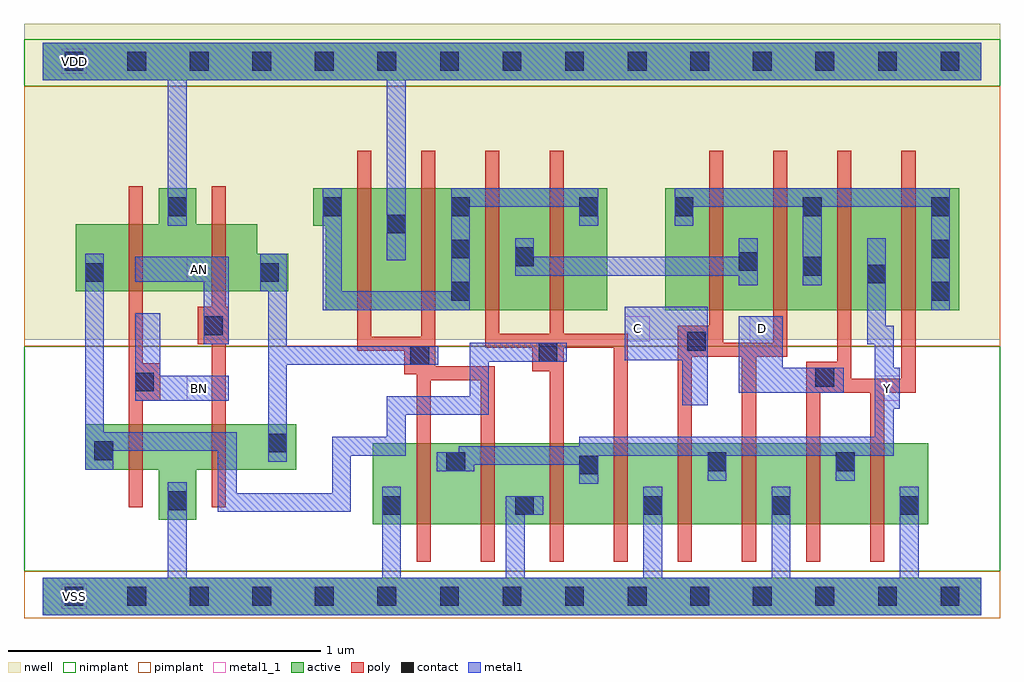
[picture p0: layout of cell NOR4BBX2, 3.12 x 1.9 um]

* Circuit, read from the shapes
.subckt NOR4BBX2 AN BN C D VDD VSS Y
M1 VSS BN n1 VSS nfet w=0.145u l=0.045u
M2 n2 AN VSS VSS nfet w=0.145u l=0.045u
M3 Y n2 VSS VSS nfet w=0.26u l=0.045u m=2
M4 Y n1 VSS VSS nfet w=0.26u l=0.045u m=2
M5 Y C VSS VSS nfet w=0.26u l=0.045u m=2
M6 Y D VSS VSS nfet w=0.26u l=0.045u m=2
M7 VDD BN n1 VDD pfet w=0.215u l=0.045u
M8 n2 AN VDD VDD pfet w=0.215u l=0.045u
M9 VDD n2 n3 VDD pfet w=0.39u l=0.045u m=2
M10 n4 n1 n3 VDD pfet w=0.39u l=0.045u m=2
M11 n4 C n5 VDD pfet w=0.39u l=0.045u m=2
M12 Y D n5 VDD pfet w=0.39u l=0.045u m=2
.ends

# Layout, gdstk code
import gdstk
lib = gdstk.Library(unit=1e-6, precision=5e-10)
def R(c, l, rs):  # rectangles x0, y0, x1, y1
    for r in rs: c.add(gdstk.rectangle(r[:2], r[2:], *l))
def A(c, l, x, y, w, h, nx, ny, dx, dy):  # array of equal rectangles
    R(c, l, [(x+i*dx, y+j*dy, x+i*dx+w, y+j*dy+h) for i in range(nx) for j in range(ny)])
def P(c, l, *ps):  # polygons
    for p in ps: c.add(gdstk.Polygon(p, *l))
active = (1, 0)
nwell = (2, 0)
poly = (3, 0)
nimplant = (4, 0)
pimplant = (5, 0)
contact = (6, 0)
metal1 = (7, 0)
metal1_1 = (7, 1)

nor4bbx2 = lib.new_cell('NOR4BBX2')
R(nor4bbx2, active, [(0,-0.06,3,0.06), (1.055,0.23,2.83,0.49), (1.99,0.915,2.93,1.305), (0,1.65,3,1.77)])
P(nor4bbx2, active, [(0.865,1.305),(1.805,1.305),(1.805,0.915),(0.905,0.915),(0.905,1.185),(0.865,1.185)],
  [(0.37,1.305),(0.49,1.305),(0.49,1.19),(0.685,1.19),(0.685,1.095),(0.785,1.095),(0.785,0.975),(0.105,0.975),(0.105,1.19),(0.37,1.19)],
  [(0.135,0.55),(0.81,0.55),(0.81,0.405),(0.49,0.405),(0.49,0.245),(0.37,0.245),(0.37,0.405),(0.135,0.405)])
R(nor4bbx2, nwell, [(-0.06,0.82,3.06,1.83)])
P(nor4bbx2, poly, [(1.005,1.425),(1.05,1.425),(1.05,0.83),(1.21,0.83),(1.21,1.425),(1.255,1.425),(1.255,0.735),(1.445,0.735),(1.445,0.11),(1.4,0.11),(1.4,0.69),(1.24,0.69),(1.24,0.11),(1.195,0.11),(1.195,0.71),(1.155,0.71),(1.155,0.785),(1.005,0.785)],
  [(1.415,1.425),(1.46,1.425),(1.46,0.84),(1.62,0.84),(1.62,1.425),(1.665,1.425),(1.665,0.84),(1.87,0.84),(1.87,0.11),(1.825,0.11),(1.825,0.795),(1.665,0.795),(1.665,0.11),(1.62,0.11),(1.62,0.72),(1.565,0.72),(1.565,0.795),(1.415,0.795)],
  [(0.275,1.31),(0.32,1.31),(0.32,0.745),(0.375,0.745),(0.375,0.625),(0.32,0.625),(0.32,0.285),(0.275,0.285)],
  [(0.54,1.31),(0.585,1.31),(0.585,0.925),(0.595,0.925),(0.595,0.805),(0.585,0.805),(0.585,0.285),(0.54,0.285),(0.54,0.805),(0.495,0.805),(0.495,0.925),(0.54,0.925)],
  [(2.13,1.425),(2.175,1.425),(2.175,0.81),(2.335,0.81),(2.335,1.425),(2.38,1.425),(2.38,0.765),(2.28,0.765),(2.28,0.11),(2.235,0.11),(2.235,0.765),(2.075,0.765),(2.075,0.11),(2.03,0.11),(2.03,0.865),(2.13,0.865)],
  [(2.54,1.425),(2.585,1.425),(2.585,0.695),(2.745,0.695),(2.745,1.425),(2.79,1.425),(2.79,0.65),(2.69,0.65),(2.69,0.11),(2.645,0.11),(2.645,0.65),(2.485,0.65),(2.485,0.11),(2.44,0.11),(2.44,0.75),(2.54,0.75)])
R(nor4bbx2, nimplant, [(-0.06,0.08,3.06,0.8), (-0.06,1.63,3.06,1.78)])
R(nor4bbx2, pimplant, [(-0.06,-0.07,3.06,0.08), (-0.06,0.8,3.06,1.63)])
A(nor4bbx2, contact, 0.07, -0.03, 0.06, 0.06, 15, 2, 0.2, 1.71)
A(nor4bbx2, contact, 1.51, 0.26, 0.06, 0.06, 4, 1, 0.41, 0)
A(nor4bbx2, contact, 0.895, 1.215, 0.06, 0.06, 3, 1, 0.41, 0)
A(nor4bbx2, contact, 2.02, 1.215, 0.06, 0.06, 3, 1, 0.41, 0)
R(nor4bbx2, contact, [(1.085,0.26,1.145,0.32), (0.4,0.275,0.46,0.335), (1.715,0.39,1.775,0.45), (1.29,0.4,1.35,0.46), (2.125,0.4,2.185,0.46), (2.535,0.4,2.595,0.46), (0.165,0.435,0.225,0.495), (0.72,0.46,0.78,0.52), (0.295,0.655,0.355,0.715), (2.47,0.67,2.53,0.73), (1.175,0.74,1.235,0.8), (1.585,0.75,1.645,0.81), (2.06,0.785,2.12,0.845), (0.515,0.835,0.575,0.895), (1.305,0.945,1.365,1.005), (2.84,0.945,2.9,1.005), (2.635,1,2.695,1.06), (0.135,1.005,0.195,1.065), (0.695,1.005,0.755,1.065), (2.43,1.025,2.49,1.085), (2.225,1.04,2.285,1.1), (1.51,1.055,1.57,1.115), (1.305,1.08,1.365,1.14), (2.84,1.08,2.9,1.14), (1.1,1.16,1.16,1.22), (0.4,1.215,0.46,1.275)])
P(nor4bbx2, metal1, [(0,1.77),(3,1.77),(3,1.65),(1.16,1.65),(1.16,1.075),(1.1,1.075),(1.1,1.65),(0.46,1.65),(0.46,1.185),(0.4,1.185),(0.4,1.65),(0,1.65)],
  [(0.895,1.305),(0.955,1.305),(0.955,0.975),(1.305,0.975),(1.305,1.305),(1.775,1.305),(1.775,1.185),(1.715,1.185),(1.715,1.245),(1.365,1.245),(1.365,0.915),(0.895,0.915)],
  [(0.135,1.095),(0.195,1.095),(0.195,0.525),(0.62,0.525),(0.62,0.33),(0.925,0.33),(0.925,0.51),(1.1,0.51),(1.1,0.64),(1.365,0.64),(1.365,0.81),(1.675,0.81),(1.675,0.75),(1.425,0.75),(1.425,0.58),(1.16,0.58),(1.16,0.45),(0.985,0.45),(0.985,0.27),(0.56,0.27),(0.56,0.465),(0.225,0.465),(0.225,0.405),(0.135,0.405)],
  [(0.695,1.095),(0.78,1.095),(0.78,0.8),(1.265,0.8),(1.265,0.74),(0.78,0.74),(0.78,0.43),(0.72,0.43),(0.72,0.975),(0.695,0.975)],
  [(0.295,1.085),(0.595,1.085),(0.595,0.805),(0.515,0.805),(0.515,1.005),(0.295,1.005)],
  [(0.295,0.905),(0.375,0.905),(0.375,0.705),(0.595,0.705),(0.595,0.625),(0.295,0.625)],
  [(1.51,1.145),(1.57,1.145),(1.57,1.085),(2.225,1.085),(2.225,1.145),(2.285,1.145),(2.285,0.995),(2.225,0.995),(2.225,1.025),(1.51,1.025)],
  [(2.02,1.305),(2.9,1.305),(2.9,0.915),(2.84,0.915),(2.84,1.245),(2.49,1.245),(2.49,0.995),(2.43,0.995),(2.43,1.245),(2.08,1.245),(2.08,1.185),(2.02,1.185)],
  [(2.635,1.145),(2.695,1.145),(2.695,0.865),(2.72,0.865),(2.72,0.73),(2.74,0.73),(2.74,0.6),(2.72,0.6),(2.72,0.45),(2.595,0.45),(2.595,0.37),(2.535,0.37),(2.535,0.45),(2.185,0.45),(2.185,0.37),(2.125,0.37),(2.125,0.45),(1.775,0.45),(1.775,0.36),(1.715,0.36),(1.715,0.42),(1.38,0.42),(1.38,0.4),(1.26,0.4),(1.26,0.46),(1.33,0.46),(1.33,0.48),(1.715,0.48),(1.715,0.51),(2.66,0.51),(2.66,0.805),(2.635,0.805)],
  [(1.86,0.925),(2.125,0.925),(2.125,0.61),(2.045,0.61),(2.045,0.755),(1.86,0.755)],
  [(2.225,0.895),(2.365,0.895),(2.365,0.73),(2.56,0.73),(2.56,0.65),(2.225,0.65)],
  [(0.4,0.365),(0.46,0.365),(0.46,0.06),(1.085,0.06),(1.085,0.35),(1.145,0.35),(1.145,0.06),(1.48,0.06),(1.48,0.32),(1.6,0.32),(1.6,0.26),(1.54,0.26),(1.54,0.06),(1.92,0.06),(1.92,0.35),(1.98,0.35),(1.98,0.06),(2.33,0.06),(2.33,0.35),(2.39,0.35),(2.39,0.06),(2.74,0.06),(2.74,0.35),(2.8,0.35),(2.8,0.06),(3,0.06),(3,-0.06),(0,-0.06),(0,0.06),(0.4,0.06)])
R(nor4bbx2, metal1_1, [(0.06,-0.04,0.14,0.04), (0.46,0.625,0.54,0.705), (2.66,0.625,2.74,0.705), (1.86,0.815,1.94,0.895), (2.26,0.815,2.34,0.895), (0.46,1.005,0.54,1.085), (0.06,1.67,0.14,1.75)])
nor4bbx2.add(gdstk.Label('Y', (2.7,0.665), layer=7, texttype=1))
nor4bbx2.add(gdstk.Label('D', (2.3,0.855), layer=7, texttype=1))
nor4bbx2.add(gdstk.Label('C', (1.9,0.855), layer=7, texttype=1))
nor4bbx2.add(gdstk.Label('AN', (0.5,1.045), layer=7, texttype=1))
nor4bbx2.add(gdstk.Label('BN', (0.5,0.665), layer=7, texttype=1))
nor4bbx2.add(gdstk.Label('VDD', (0.1,1.71), layer=7, texttype=1))
nor4bbx2.add(gdstk.Label('VSS', (0.1,0), layer=7, texttype=1))
nor4bbx2.add(gdstk.Label('NOR4BBX2', (0,0), layer=63, texttype=0))

lib.write_gds('NOR4BBX2.gds')
